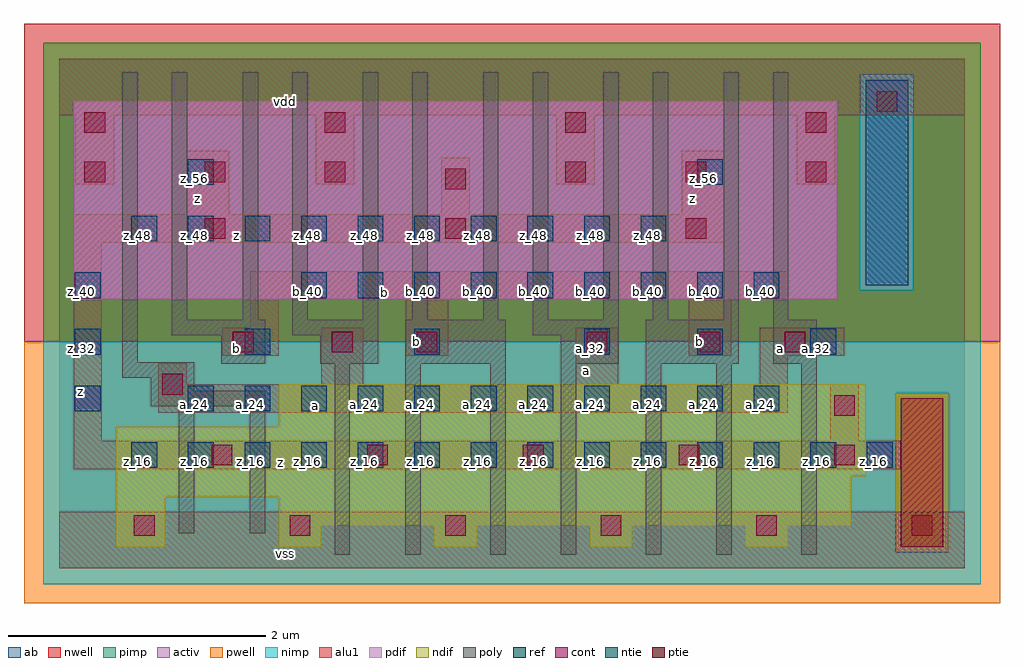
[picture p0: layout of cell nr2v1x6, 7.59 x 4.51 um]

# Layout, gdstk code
import gdstk
lib = gdstk.Library(unit=1e-6, precision=2.5e-09)
def R(c, l, rs):  # rectangles x0, y0, x1, y1
    for r in rs: c.add(gdstk.rectangle(r[:2], r[2:], *l))
def A(c, l, x, y, w, h, nx, ny, dx, dy):  # array of equal rectangles
    R(c, l, [(x+i*dx, y+j*dy, x+i*dx+w, y+j*dy+h) for i in range(nx) for j in range(ny)])
ndif = (3, 0)
pdif = (4, 0)
ntie = (5, 0)
ptie = (6, 0)
ref = (24, 0)
cont = (25, 0)
pwell = (41, 0)
nwell = (42, 0)
activ = (43, 0)
pimp = (44, 0)
nimp = (45, 0)
poly = (46, 0)
alu1 = (49, 0)
ab = (63, 0)

nr2v1x6 = lib.new_cell('nr2v1x6')
A(nr2v1x6, ndif, 1.705, 0.165, 0.33, 0.165, 4, 1, 1.21, 0)
R(nr2v1x6, ndif, [(0.44,0.165,0.825,0.55), (1.705,0.33,6.16,0.55), (0.44,0.55,6.16,0.715), (0.44,0.715,6.27,1.1), (1.705,1.1,6.27,1.43)])
R(nr2v1x6, pdif, [(0.11,2.09,6.05,3.63)])
R(nr2v1x6, ntie, [(6.27,2.2,6.6,3.795)])
R(nr2v1x6, ptie, [(6.545,0.165,6.875,1.32)])
A(nr2v1x6, ref, 0.56, 0.78, 0.2, 0.2, 14, 1, 0.44, 0)
A(nr2v1x6, ref, 1, 1.22, 0.2, 0.2, 11, 1, 0.44, 0)
A(nr2v1x6, ref, 0.12, 1.66, 0.2, 0.2, 4, 1, 1.32, 0)
A(nr2v1x6, ref, 1.88, 2.1, 0.2, 0.2, 9, 1, 0.44, 0)
A(nr2v1x6, ref, 0.56, 2.54, 0.2, 0.2, 10, 1, 0.44, 0)
R(nr2v1x6, ref, [(0.12,1.22,0.32,1.42), (4.96,1.66,5.16,1.86), (5.84,1.66,6.04,1.86), (0.12,2.1,0.32,2.3), (1,2.98,1.2,3.18), (4.96,2.98,5.16,3.18)])
A(nr2v1x6, cont, 0.58, 0.25, 0.16, 0.16, 6, 1, 1.21, 0)
A(nr2v1x6, cont, 1.185, 0.8, 0.16, 0.16, 5, 1, 1.21, 0)
A(nr2v1x6, cont, 1.13, 2.56, 0.16, 0.16, 3, 1, 1.87, 0)
A(nr2v1x6, cont, 0.195, 3, 0.16, 0.16, 3, 1, 0.935, 0)
A(nr2v1x6, cont, 3.935, 3, 0.16, 0.16, 3, 1, 0.935, 0)
A(nr2v1x6, cont, 0.195, 3.385, 0.16, 0.16, 4, 1, 1.87, 0)
R(nr2v1x6, cont, [(6.025,1.185,6.185,1.345), (0.8,1.35,0.96,1.51), (1.35,1.68,1.51,1.84), (2.12,1.68,2.28,1.84), (2.78,1.68,2.94,1.84), (4.1,1.68,4.26,1.84), (4.98,1.68,5.14,1.84), (5.64,1.68,5.8,1.84), (3,2.945,3.16,3.105), (6.355,3.55,6.515,3.71)])
R(nr2v1x6, pwell, [(-0.275,-0.275,7.315,1.76)])
R(nr2v1x6, nwell, [(-0.275,1.76,7.315,4.235)])
A(nr2v1x6, activ, 1.705, 0.165, 0.33, 0.165, 4, 1, 1.21, 0)
R(nr2v1x6, activ, [(0.44,0.165,0.825,0.55), (6.545,0.165,6.875,1.32), (1.705,0.33,6.16,0.55), (0.44,0.55,6.16,0.715), (0.44,0.715,6.27,1.1), (1.705,1.1,6.27,1.43), (0.11,2.09,6.05,3.63), (6.27,2.2,6.6,3.795)])
R(nr2v1x6, pimp, [(6.505,0.125,6.915,1.36), (-0.125,1.76,7.165,2.16), (-0.125,2.16,6.23,3.835), (6.64,2.16,7.165,3.835), (-0.125,3.835,7.165,4.085)])
R(nr2v1x6, nimp, [(-0.125,-0.125,7.165,0.125), (-0.125,0.125,6.505,1.36), (6.915,0.125,7.165,1.36), (-0.125,1.36,7.165,1.76), (6.23,2.16,6.64,3.835)])
R(nr2v1x6, poly, [(2.14,0.105,2.26,1.59), (2.69,0.105,2.81,1.59), (3.35,0.105,3.47,1.59), (3.9,0.105,4.02,1.59), (4.56,0.105,4.68,1.59), (5.11,0.105,5.23,1.59), (5.77,0.105,5.89,1.59), (0.93,0.27,1.05,1.26), (1.48,0.27,1.6,1.26), (0.71,1.26,1.6,1.38), (0.71,1.38,1.05,1.48), (0.49,1.48,1.05,1.6), (1.26,1.59,1.6,1.81), (2.03,1.59,2.48,1.81), (2.69,1.59,3.47,1.93), (3.9,1.59,4.35,1.81), (4.56,1.59,5.285,1.93), (5.55,1.59,5.89,1.93), (0.49,1.6,0.61,3.855), (0.875,1.81,1.6,1.93), (1.81,1.81,2.48,1.93), (3.68,1.81,4.35,1.93), (0.875,1.93,0.995,3.855), (1.425,1.93,1.545,3.855), (1.81,1.93,1.93,3.855), (2.36,1.93,2.48,3.855), (2.745,1.93,2.865,3.855), (3.295,1.93,3.415,3.855), (3.68,1.93,3.8,3.855), (4.23,1.93,4.35,3.855), (4.615,1.93,4.735,3.855), (5.165,1.93,5.285,3.855), (5.55,1.93,5.67,3.855)])
A(nr2v1x6, alu1, 0.125, 2.985, 0.3, 0.535, 4, 1, 1.87, 0)
R(nr2v1x6, alu1, [(0,0,7.04,0.44), (0.11,0.77,6.545,0.99), (0.11,0.99,0.33,2.53), (5.995,0.99,6.215,1.43), (0.77,1.21,5.665,1.43), (0.77,1.43,0.99,1.595), (2.035,1.43,2.365,1.87), (4.015,1.43,4.345,1.87), (5.445,1.43,5.665,1.65), (1.265,1.65,1.705,1.87), (2.695,1.65,3.025,2.09), (4.895,1.65,5.225,2.09), (5.445,1.65,6.105,1.87), (1.485,1.87,1.705,2.09), (1.485,2.09,5.665,2.31), (0.11,2.53,5.17,2.75), (0.99,2.75,1.32,3.245), (2.97,2.75,3.19,3.19), (4.84,2.75,5.17,3.245), (0,3.52,7.04,3.96)])
R(nr2v1x6, ab, [(0,0,7.04,3.96)])
nr2v1x6.add(gdstk.Label('vss', (1.76,0.11), layer=49, texttype=0))
nr2v1x6.add(gdstk.Label('z', (1.7175,0.825), layer=49, texttype=0))
nr2v1x6.add(gdstk.Label('a', (1.9925,1.265), layer=49, texttype=0))
nr2v1x6.add(gdstk.Label('a', (5.61,1.705), layer=49, texttype=0))
nr2v1x6.add(gdstk.Label('b', (4.9775,1.76), layer=49, texttype=0))
nr2v1x6.add(gdstk.Label('a', (4.0975,1.54), layer=49, texttype=0))
nr2v1x6.add(gdstk.Label('b', (2.7775,1.76), layer=49, texttype=0))
nr2v1x6.add(gdstk.Label('b', (1.375,1.705), layer=49, texttype=0))
nr2v1x6.add(gdstk.Label('b', (2.53,2.145), layer=49, texttype=0))
nr2v1x6.add(gdstk.Label('z', (0.165,1.375), layer=49, texttype=0))
nr2v1x6.add(gdstk.Label('z', (1.375,2.585), layer=49, texttype=0))
nr2v1x6.add(gdstk.Label('z', (4.9225,2.8725), layer=49, texttype=0))
nr2v1x6.add(gdstk.Label('z', (1.0725,2.8725), layer=49, texttype=0))
nr2v1x6.add(gdstk.Label('vdd', (1.76,3.63), layer=49, texttype=0))
nr2v1x6.add(gdstk.Label('z_56', (5.01,3.03), layer=24, texttype=0))
nr2v1x6.add(gdstk.Label('b_40', (5.01,2.15), layer=24, texttype=0))
nr2v1x6.add(gdstk.Label('b_32', (5.01,1.71), layer=24, texttype=0))
nr2v1x6.add(gdstk.Label('a_24', (5.01,1.27), layer=24, texttype=0))
nr2v1x6.add(gdstk.Label('z_16', (5.01,0.83), layer=24, texttype=0))
nr2v1x6.add(gdstk.Label('z_48', (4.57,2.59), layer=24, texttype=0))
nr2v1x6.add(gdstk.Label('b_40', (4.57,2.15), layer=24, texttype=0))
nr2v1x6.add(gdstk.Label('a_24', (4.57,1.27), layer=24, texttype=0))
nr2v1x6.add(gdstk.Label('z_16', (4.57,0.83), layer=24, texttype=0))
nr2v1x6.add(gdstk.Label('z_48', (4.13,2.59), layer=24, texttype=0))
nr2v1x6.add(gdstk.Label('b_40', (4.13,2.15), layer=24, texttype=0))
nr2v1x6.add(gdstk.Label('a_32', (4.13,1.71), layer=24, texttype=0))
nr2v1x6.add(gdstk.Label('a_24', (4.13,1.27), layer=24, texttype=0))
nr2v1x6.add(gdstk.Label('z_16', (4.13,0.83), layer=24, texttype=0))
nr2v1x6.add(gdstk.Label('z_48', (3.69,2.59), layer=24, texttype=0))
nr2v1x6.add(gdstk.Label('b_40', (3.69,2.15), layer=24, texttype=0))
nr2v1x6.add(gdstk.Label('a_24', (3.69,1.27), layer=24, texttype=0))
nr2v1x6.add(gdstk.Label('z_16', (3.69,0.83), layer=24, texttype=0))
nr2v1x6.add(gdstk.Label('z_48', (3.25,2.59), layer=24, texttype=0))
nr2v1x6.add(gdstk.Label('b_40', (3.25,2.15), layer=24, texttype=0))
nr2v1x6.add(gdstk.Label('a_24', (3.25,1.27), layer=24, texttype=0))
nr2v1x6.add(gdstk.Label('z_16', (3.25,0.83), layer=24, texttype=0))
nr2v1x6.add(gdstk.Label('z_48', (2.81,2.59), layer=24, texttype=0))
nr2v1x6.add(gdstk.Label('b_40', (2.81,2.15), layer=24, texttype=0))
nr2v1x6.add(gdstk.Label('b_32', (2.81,1.71), layer=24, texttype=0))
nr2v1x6.add(gdstk.Label('a_24', (2.81,1.27), layer=24, texttype=0))
nr2v1x6.add(gdstk.Label('z_16', (2.81,0.83), layer=24, texttype=0))
nr2v1x6.add(gdstk.Label('z_48', (2.37,2.59), layer=24, texttype=0))
nr2v1x6.add(gdstk.Label('b_40', (2.37,2.15), layer=24, texttype=0))
nr2v1x6.add(gdstk.Label('a_24', (2.37,1.27), layer=24, texttype=0))
nr2v1x6.add(gdstk.Label('z_16', (2.37,0.83), layer=24, texttype=0))
nr2v1x6.add(gdstk.Label('z_40', (0.17,2.15), layer=24, texttype=0))
nr2v1x6.add(gdstk.Label('z_32', (0.17,1.71), layer=24, texttype=0))
nr2v1x6.add(gdstk.Label('z_24', (0.17,1.27), layer=24, texttype=0))
nr2v1x6.add(gdstk.Label('z_48', (1.93,2.59), layer=24, texttype=0))
nr2v1x6.add(gdstk.Label('b_40', (1.93,2.15), layer=24, texttype=0))
nr2v1x6.add(gdstk.Label('a_24', (1.93,1.27), layer=24, texttype=0))
nr2v1x6.add(gdstk.Label('z_16', (1.93,0.83), layer=24, texttype=0))
nr2v1x6.add(gdstk.Label('z_48', (1.49,2.59), layer=24, texttype=0))
nr2v1x6.add(gdstk.Label('b_32', (1.49,1.71), layer=24, texttype=0))
nr2v1x6.add(gdstk.Label('a_24', (1.49,1.27), layer=24, texttype=0))
nr2v1x6.add(gdstk.Label('z_16', (1.49,0.83), layer=24, texttype=0))
nr2v1x6.add(gdstk.Label('z_56', (1.05,3.03), layer=24, texttype=0))
nr2v1x6.add(gdstk.Label('z_48', (1.05,2.59), layer=24, texttype=0))
nr2v1x6.add(gdstk.Label('a_24', (1.05,1.27), layer=24, texttype=0))
nr2v1x6.add(gdstk.Label('z_16', (1.05,0.83), layer=24, texttype=0))
nr2v1x6.add(gdstk.Label('z_48', (0.61,2.59), layer=24, texttype=0))
nr2v1x6.add(gdstk.Label('z_16', (0.61,0.83), layer=24, texttype=0))
nr2v1x6.add(gdstk.Label('z_16', (6.33,0.83), layer=24, texttype=0))
nr2v1x6.add(gdstk.Label('a_32', (5.89,1.71), layer=24, texttype=0))
nr2v1x6.add(gdstk.Label('z_16', (5.89,0.83), layer=24, texttype=0))
nr2v1x6.add(gdstk.Label('b_40', (5.45,2.15), layer=24, texttype=0))
nr2v1x6.add(gdstk.Label('a_24', (5.45,1.27), layer=24, texttype=0))
nr2v1x6.add(gdstk.Label('z_16', (5.45,0.83), layer=24, texttype=0))

lib.write_gds('nr2v1x6.gds')
